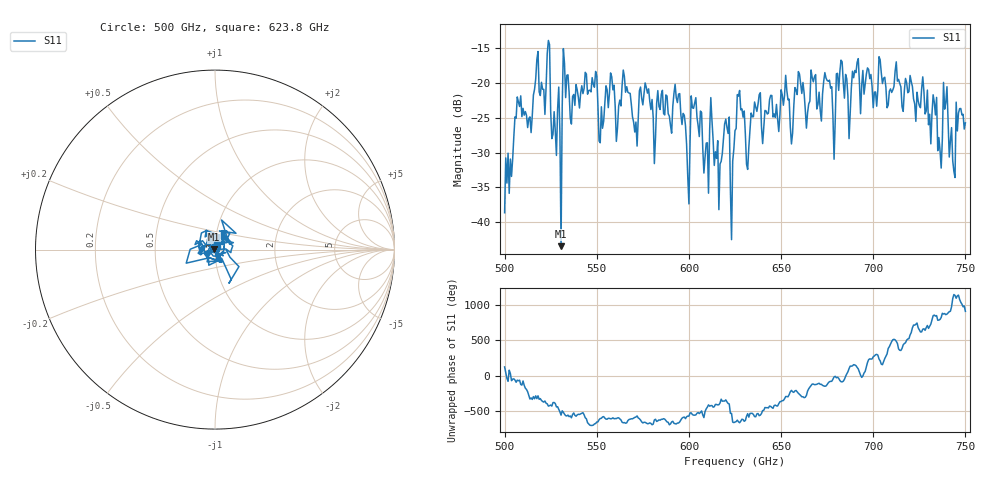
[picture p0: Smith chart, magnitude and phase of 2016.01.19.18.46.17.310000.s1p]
!Created with skrf (http://scikit-rf.org).
# GHz S RI R 50.0
!freq ReS11 ImS11
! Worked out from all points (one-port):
!   401 points, 500 GHz to 750 GHz, reference 50 ohm
!   lowest |S11| = -43.5 dB at 530.6 GHz (marker M1), VSWR 1.01, Z = 49.4 + j0.164 ohm
!   |S11| at or under -10 dB: start of sweep to end of sweep
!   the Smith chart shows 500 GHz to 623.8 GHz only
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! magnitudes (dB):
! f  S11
! 500 GHz  -38.7
! 506.9 GHz  -22.0
! 513.8 GHz  -24.9
! 516.9 GHz  -19.4
! 523.8 GHz  -13.9
! 530.6 GHz  -43.5
! 531.2 GHz  -23.4
! 533.1 GHz  -22.1
! 536.9 GHz  -21.9
! 548.8 GHz  -20.6
! 552.5 GHz  -23.4
! 562.5 GHz  -22.4
! 593.8 GHz  -22.8
! 599.4 GHz  -33.5
! 602.5 GHz  -23.6
! 609.4 GHz  -28.6
! 620.6 GHz  -26.4
! 623.8 GHz  -31.2
! 625 GHz  -26.8
! 656.2 GHz  -27.2
! 667.5 GHz  -19.8
! 687.5 GHz  -24.4
! 718.8 GHz  -21.4
! 733.1 GHz  -22.7
! 736.2 GHz  -29.8
! 739.4 GHz  -22.8
! 743.1 GHz  -31.2
! 750 GHz  -25.7
